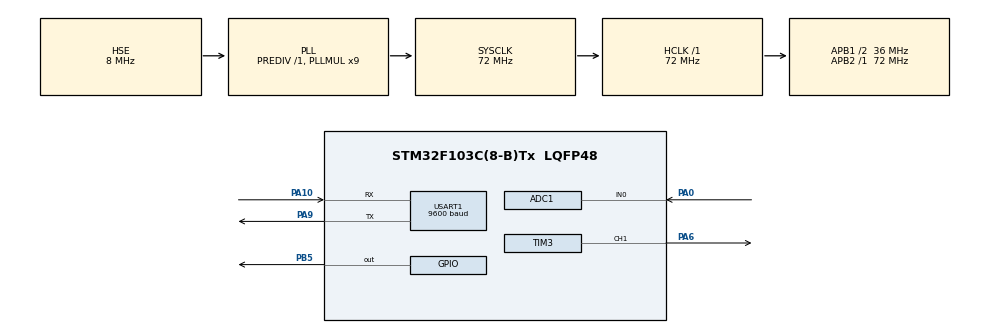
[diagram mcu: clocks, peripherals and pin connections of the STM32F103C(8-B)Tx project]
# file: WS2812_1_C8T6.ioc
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ADC1.NbrOfConversionFlag=1
ADC1.master=1
Dma.Request0=TIM3_CH1/TRIG
Dma.TIM3_CH1/TRIG.0.Direction=DMA_MEMORY_TO_PERIPH
Dma.TIM3_CH1/TRIG.0.Instance=DMA1_Channel6
Dma.TIM3_CH1/TRIG.0.MemDataAlignment=DMA_MDATAALIGN_HALFWORD
Dma.TIM3_CH1/TRIG.0.MemInc=DMA_MINC_ENABLE
Dma.TIM3_CH1/TRIG.0.Mode=DMA_NORMAL
Dma.TIM3_CH1/TRIG.0.PeriphDataAlignment=DMA_PDATAALIGN_HALFWORD
Dma.TIM3_CH1/TRIG.0.PeriphInc=DMA_PINC_DISABLE
Dma.TIM3_CH1/TRIG.0.Priority=DMA_PRIORITY_LOW
Mcu.Family=STM32F1
Mcu.Name=STM32F103C(8-B)Tx
Mcu.Package=LQFP48
NVIC.DMA1_Channel6_IRQn=true\:0\:0\:false\:false\:true\:false\:true\:true
NVIC.PriorityGroup=NVIC_PRIORITYGROUP_4
PA0-WKUP.Signal=ADCx_IN0
PA10.Mode=Asynchronous
PA10.Signal=USART1_RX
PA13.Mode=Serial_Wire
PA13.Signal=SYS_JTMS-SWDIO
PA14.Mode=Serial_Wire
PA14.Signal=SYS_JTCK-SWCLK
PA6.Signal=S_TIM3_CH1
PA9.Mode=Asynchronous
PA9.Signal=USART1_TX
PB5.Signal=GPIO_Output
PC14-OSC32_IN.Mode=LSE-External-Oscillator
PC14-OSC32_IN.Signal=RCC_OSC32_IN
PC15-OSC32_OUT.Mode=LSE-External-Oscillator
PC15-OSC32_OUT.Signal=RCC_OSC32_OUT
PD0-OSC_IN.Mode=HSE-External-Oscillator
PD0-OSC_IN.Signal=RCC_OSC_IN
PD1-OSC_OUT.Mode=HSE-External-Oscillator
PD1-OSC_OUT.Signal=RCC_OSC_OUT
ProjectManager.HeapSize=0x200
ProjectManager.StackSize=0x400
ProjectManager.TargetToolchain=STM32CubeIDE
RCC.ADCPresc=RCC_ADCPCLK2_DIV6
RCC.AHBFreq_Value=72000000
RCC.APB1CLKDivider=RCC_HCLK_DIV2
RCC.APB1Freq_Value=36000000
RCC.APB1TimFreq_Value=72000000
RCC.APB2Freq_Value=72000000
RCC.APB2TimFreq_Value=72000000
RCC.HCLKFreq_Value=72000000
RCC.PLLMUL=RCC_PLL_MUL9
RCC.PLLSourceVirtual=RCC_PLLSOURCE_HSE
RCC.SYSCLKFreq_VALUE=72000000
RCC.SYSCLKSource=RCC_SYSCLKSOURCE_PLLCLK
RCC.USBFreq_Value=72000000
SH.ADCx_IN0.0=ADC1_IN0,IN0
SH.S_TIM3_CH1.0=TIM3_CH1,PWM Generation1 CH1
TIM3.Channel-PWM\ Generation1\ CH1=TIM_CHANNEL_1
TIM3.Period=90-1
USART1.BaudRate=9600
USART1.VirtualMode=VM_ASYNC
board=custom

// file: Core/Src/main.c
/* USER CODE BEGIN Header */
/**
  ******************************************************************************
  * @file           : main.c
  * @brief          : Main program body
  ******************************************************************************
  * @attention
  *
  * Copyright (c) 2024 STMicroelectronics.
  * All rights reserved.
  *
  * This software is licensed under terms that can be found in the LICENSE file
  * in the root directory of this software component.
  * If no LICENSE file comes with this software, it is provided AS-IS.
  *
  ******************************************************************************
  */
/* USER CODE END Header */
#include "main.h"
#include "adc.h"
#include "dma.h"
#include "tim.h"
#include "usart.h"
#include "gpio.h"

/* USER CODE BEGIN Includes */
#include "math.h"
#include <stdio.h>
#include <string.h>
/* USER CODE END Includes */

/* USER CODE BEGIN PV */
void Breathing_light(int);
void Water_light(int);
void ADC_V(void);
/* USER CODE END PV */

void SystemClock_Config(void);

/* USER CODE BEGIN 0 */

#define LED_MAX 3
#define USE_BRIGHTNESS 1
int t=0;

        uint8_t LED_Data[LED_MAX][4];
        uint8_t LED_Mod[LED_MAX][4];
        uint16_t raw;
        char msg2[50];

        int datasentflag = 0;

void HAL_TIM_PWM_PulseFinshedCallback(TIM_HandleTypeDef *htim)
{
        HAL_TIM_PWM_Stop_DMA(&htim3,TIM_CHANNEL_1);
        datasentflag = 1;

}

        void Set_LED (int LEDnum,int Green,int Red,int Blue)
        {

                LED_Data[LEDnum][0] = LEDnum;
                LED_Data[LEDnum][1] = Green;
                LED_Data[LEDnum][2] = Red;
                LED_Data[LEDnum][3] = Blue;

        }

        void Set_Brightness(int brightness) {
            float factor = (float)brightness / 45.0f; // 计算亮度系数
            for(int i = 0; i < LED_MAX; i++) {
                for(int j = 1; j < 4; j++) {
                    // 根据亮度系数调整颜色�??
                    LED_Mod[i][j] = (uint8_t)(LED_Data[i][j] * factor);
                }
            }
        }

uint16_t pwmData[24*LED_MAX+240];
void WS2812_Send(void) {
    uint32_t indx = 0;
    uint32_t color;

    for(int i = 0; i < LED_MAX; i++) {
        color = ((LED_Mod[i][1] << 16) | (LED_Mod[i][2] << 8) | (LED_Mod[i][3]));

        for(int i = 23; i >= 0; i--) {
            if(color & (1 << i)) {
                pwmData[indx] = 65;
            } else {
                pwmData[indx] = 25;
            }
            indx++;
        }
    }

    for(int i = 0; i < 240; i++) {
        pwmData[indx] = 0;
        indx++;
    }

    HAL_TIM_PWM_Start_DMA(&htim3, TIM_CHANNEL_1, (uint32_t *)pwmData, indx);
}

void HAL_TIM_PWM_PulseFinishedCallback(TIM_HandleTypeDef *htim) {
    if(htim->Instance == TIM3) {
        HAL_TIM_PWM_Stop_DMA(&htim3, TIM_CHANNEL_1);
        datasentflag = 1;
    }
}
void Breathing_light(int speed) {
    for(int i = 0; i < 45; i++) {
        Set_Brightness(i);
        WS2812_Send();
        HAL_Delay(speed);
    }
    for(int i = 45; i > 0; i--) {
        Set_Brightness(i);
        WS2812_Send();
        HAL_Delay(speed);
    }
    WS2812_Send();
    HAL_Delay(speed);
}

//speed为变换速度，数字越小越快
void Water_light(int speed) {

        t++;
        if (t % 3 == 0) {
            Set_LED(0, 255, 0, 0);
            Set_LED(1, 0, 255, 0);
            Set_LED(2, 0, 0, 255);
        } else if (t % 3 == 1) {
            Set_LED(1, 255, 0, 0);
            Set_LED(2, 0, 255, 0);
            Set_LED(0, 0, 0, 255);
        } else {
            Set_LED(0, 255, 0, 0);
            Set_LED(2, 0, 255, 0);
            Set_LED(1, 0, 0, 255);
        }
        Set_Brightness(50);
        WS2812_Send();
        HAL_Delay(speed);

}

void  ADC_V(void)
    {
                              // 开始ADC采样
                              HAL_ADC_Start(&hadc1);
                              HAL_ADC_PollForConversion(&hadc1,300);
                             // 获取ADC转换结果并计算电压
                              raw = HAL_ADC_GetValue(&hadc1);
                              float vin = raw*(3.3/4096);
                           // 创建包含电压值的字符串消息
                              sprintf(msg2,"vol = %.2f\r\n",vin);
                            // 通过串口发送电压值信息
                              HAL_UART_Transmit(&huart1,(uint8_t *)msg2,strlen(msg2),300);
                              HAL_Delay(100);
                               if (vin < 1) // 小于1v
                        {

                             Set_LED(0, 255, 0, 0);
                             Set_LED(1, 255, 0, 0);
                             Set_LED(2, 255, 0, 0);// 绿光
                             Set_Brightness(50);
                                WS2812_Send();
                        }
                        else if(vin < 2)//1~2
                        {
                                 Set_LED(0, 0, 0, 255);
                                 Set_LED(1,0, 0, 255);
                                 Set_LED(2, 0, 0, 255);// 蓝光
                                 Set_Brightness(50);
                                    WS2812_Send();
                        }
                        else// >2
                        {
                                Set_LED(0,0,255, 0);
                                Set_LED(1,0, 255,0);
                                Set_LED(2,0,255,0);// 红光
                               Set_Brightness(50);
                                  WS2812_Send();
                       }
                    HAL_Delay(50);

        }

/*void send (int Green,int Red,int Blue)
{
                        uint32_t data=(Green<<16)|(Red<<8)|Blue;

        for(int i=23;i>=0;i--){

                if(data&(1<<i)) pwmData[i]=60;
                else pwmData[i]=30;

        }
        HAL_TIM_PWM_Start_DMA(&htim3,TIM_CHANNEL_1,(uint32_t *)pwmData,24);

        }*/
/* USER CODE END 0 */

int main(void)
{

  /* MCU Configuration--------------------------------------------------------*/

  /* Reset of all peripherals, Initializes the Flash interface and the Systick. */
  HAL_Init();

  /* Configure the system clock */
  SystemClock_Config();

  /* Initialize all configured peripherals */
  MX_GPIO_Init();
  MX_DMA_Init();
  MX_TIM3_Init();
  MX_ADC1_Init();
  MX_USART1_UART_Init();
  /* USER CODE BEGIN 2 */

  //（）说要有光，于是便有了光
   for(int i=0;i<=LED_MAX;i++){
	 if(i%3==1) Set_LED(i,255,0,0);
	 else if(i%3==2) Set_LED(i,0,255,0);
	 else if (i%3==0)  Set_LED(i,255,255,266);
  }

   Set_Brightness(50);
   WS2812_Send();

  /* USER CODE END 2 */

  /* Infinite loop */
  while (1)
  {

    /* USER CODE BEGIN 3 */
          //三种灯效，想用那个，删掉前面的“//”就行，1和2可以组合用,speed为变换速度，数字越小越快
	  	  	//Breathing_light(10);
          //Water_light(100) ;
           // ADC_V();
  }
  /* USER CODE END 3 */
}

void SystemClock_Config(void)
{
  RCC_OscInitTypeDef RCC_OscInitStruct = {0};
  RCC_ClkInitTypeDef RCC_ClkInitStruct = {0};
  RCC_PeriphCLKInitTypeDef PeriphClkInit = {0};

  /** Initializes the RCC Oscillators according to the specified parameters
  * in the RCC_OscInitTypeDef structure.
  */
  RCC_OscInitStruct.OscillatorType = RCC_OSCILLATORTYPE_HSE;
  RCC_OscInitStruct.HSEState = RCC_HSE_ON;
  RCC_OscInitStruct.HSEPredivValue = RCC_HSE_PREDIV_DIV1;
  RCC_OscInitStruct.HSIState = RCC_HSI_ON;
  RCC_OscInitStruct.PLL.PLLState = RCC_PLL_ON;
  RCC_OscInitStruct.PLL.PLLSource = RCC_PLLSOURCE_HSE;
  RCC_OscInitStruct.PLL.PLLMUL = RCC_PLL_MUL9;
  if (HAL_RCC_OscConfig(&RCC_OscInitStruct) != HAL_OK)
  {
    Error_Handler();
  }

  /** Initializes the CPU, AHB and APB buses clocks
  */
  RCC_ClkInitStruct.ClockType = RCC_CLOCKTYPE_HCLK|RCC_CLOCKTYPE_SYSCLK
                              |RCC_CLOCKTYPE_PCLK1|RCC_CLOCKTYPE_PCLK2;
  RCC_ClkInitStruct.SYSCLKSource = RCC_SYSCLKSOURCE_PLLCLK;
  RCC_ClkInitStruct.AHBCLKDivider = RCC_SYSCLK_DIV1;
  RCC_ClkInitStruct.APB1CLKDivider = RCC_HCLK_DIV2;
  RCC_ClkInitStruct.APB2CLKDivider = RCC_HCLK_DIV1;

  if (HAL_RCC_ClockConfig(&RCC_ClkInitStruct, FLASH_LATENCY_2) != HAL_OK)
  {
    Error_Handler();
  }
  PeriphClkInit.PeriphClockSelection = RCC_PERIPHCLK_ADC;
  PeriphClkInit.AdcClockSelection = RCC_ADCPCLK2_DIV6;
  if (HAL_RCCEx_PeriphCLKConfig(&PeriphClkInit) != HAL_OK)
  {
    Error_Handler();
  }
}

void Error_Handler(void)
{
  __disable_irq();
  while (1)
  {
  }
}
